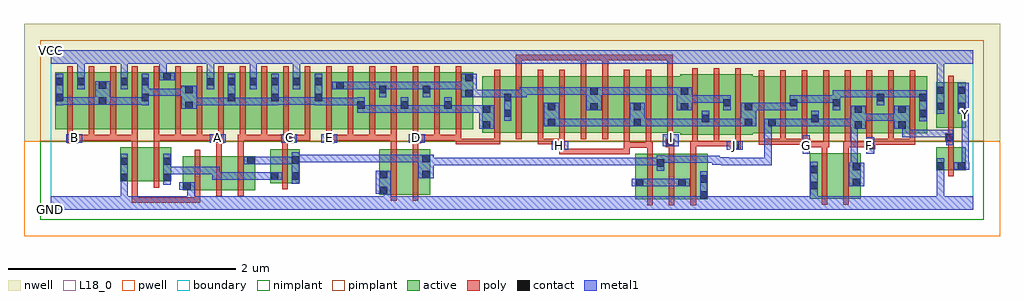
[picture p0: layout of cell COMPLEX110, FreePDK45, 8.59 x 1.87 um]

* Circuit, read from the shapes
.subckt COMPLEX110 A B C D E F G GND H I J VCC Y
M1 n1 B GND VSUBS nfet w=0.3u l=0.05u
M2 n2 A n1 VSUBS nfet w=0.3u l=0.05u
M3 n3 B GND VSUBS nfet w=0.3u l=0.05u
M4 n4 A n3 VSUBS nfet w=0.3u l=0.05u
M5 n5 C n4 VSUBS nfet w=0.3u l=0.05u
M6 n5 C n2 VSUBS nfet w=0.3u l=0.05u
M7 n6 E GND VSUBS nfet w=0.4u l=0.05u
M8 n5 D n6 VSUBS nfet w=0.4u l=0.05u
M9 n5 H n7 VSUBS nfet w=0.4u l=0.05u
M10 n7 I n5 VSUBS nfet w=0.4u l=0.05u
M11 GND J n7 VSUBS nfet w=0.4u l=0.05u
M12 n8 G GND VSUBS nfet w=0.4u l=0.05u
M13 n5 F n8 VSUBS nfet w=0.4u l=0.05u
M14 Y n5 GND VSUBS nfet w=0.2u l=0.05u
M15 VCC B n9 n10 pfet w=0.5u l=0.05u m=4
M16 VCC A n9 n10 pfet w=0.5u l=0.05u m=4
M17 VCC C n9 n10 pfet w=0.5u l=0.05u m=4
M18 n11 E n9 n10 pfet w=0.5u l=0.05u m=4
M19 n11 D n9 n10 pfet w=0.5u l=0.05u m=4
M20 n12 I n11 n10 pfet w=0.5u l=0.05u
M21 n13 H n12 n10 pfet w=0.5u l=0.05u
M22 n14 H n13 n10 pfet w=0.5u l=0.05u
M23 n11 I n14 n10 pfet w=0.5u l=0.05u
M24 n15 I n11 n10 pfet w=0.5u l=0.05u
M25 n13 H n15 n10 pfet w=0.5u l=0.05u
M26 n16 H n13 n10 pfet w=0.5u l=0.05u
M27 n11 I n16 n10 pfet w=0.5u l=0.05u
M28 n13 J n11 n10 pfet w=0.533u l=0.05u m=3
M29 n5 G n13 n10 pfet w=0.5u l=0.05u m=4
M30 n5 F n13 n10 pfet w=0.5u l=0.05u m=4
M31 Y n5 VCC n10 pfet w=0.4u l=0.05u
.ends

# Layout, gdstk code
import gdstk
lib = gdstk.Library(unit=1e-6, precision=1e-09)
def R(c, l, rs):  # rectangles x0, y0, x1, y1
    for r in rs: c.add(gdstk.rectangle(r[:2], r[2:], *l))
def A(c, l, x, y, w, h, nx, ny, dx, dy):  # array of equal rectangles
    R(c, l, [(x+i*dx, y+j*dy, x+i*dx+w, y+j*dy+h) for i in range(nx) for j in range(ny)])
active = (1, 0)
pwell = (2, 0)
nwell = (3, 0)
nimplant = (4, 0)
pimplant = (5, 0)
poly = (9, 0)
contact = (10, 0)
metal1 = (11, 0)
L18_0 = (18, 0)
boundary = (235, 0)

complex110 = lib.new_cell('COMPLEX110')
A(complex110, active, 6.5, 0.672, 0.265, 0.5, 3, 1, 0.19, 0)
A(complex110, active, 0.04, 0.707, 0.265, 0.5, 3, 1, 0.19, 0)
A(complex110, active, 1.555, 0.707, 0.265, 0.5, 3, 1, 0.19, 0)
R(complex110, active, [(5.145,0.092,5.405,0.492), (5.33,0.092,5.595,0.492), (5.52,0.092,5.785,0.492), (5.71,0.092,5.785,0.492), (6.68,0.097,6.905,0.497), (6.68,0.097,6.755,0.497), (6.905,0.097,7.13,0.497), (2.89,0.132,3.115,0.532), (2.89,0.132,2.965,0.532), (3.115,0.132,3.34,0.532), (3.265,0.147,3.34,0.532), (5.145,0.147,5.22,0.492), (5.33,0.147,5.405,0.492), (5.52,0.147,5.595,0.492), (7.055,0.147,7.13,0.497), (1.162,0.17,1.237,0.47), (1.162,0.17,1.387,0.47), (1.387,0.17,1.577,0.47), (1.577,0.17,1.802,0.47), (1.932,0.232,2.007,0.532), (1.932,0.232,2.192,0.532), (2.117,0.232,2.192,0.532), (0.61,0.247,0.685,0.547), (0.61,0.247,0.835,0.547), (0.835,0.247,1.06,0.547), (0.985,0.247,1.06,0.547), (1.727,0.247,1.802,0.47), (7.795,0.347,7.87,0.547), (7.795,0.347,8.055,0.547), (7.98,0.347,8.055,0.547), (5.54,0.657,5.8,1.19), (5.725,0.657,5.99,1.19), (5.725,0.657,5.8,1.07), (5.915,0.657,6.18,1.19), (5.915,0.657,5.99,1.19), (6.105,0.672,6.18,1.157), (6.105,0.672,6.387,1.172), (6.312,0.672,6.387,1.07), (6.312,0.672,6.575,1.172), (6.5,0.672,6.575,1.157), (6.69,0.672,6.765,1.07), (6.88,0.672,6.955,1.157), (7.07,0.672,7.145,1.07), (7.07,0.672,7.34,1.172), (7.265,0.672,7.34,1.157), (7.265,0.672,7.53,1.172), (7.455,0.672,7.715,1.172), (7.455,0.672,7.53,1.07), (7.64,0.672,7.715,1.157), (3.8,0.675,4.06,1.175), (3.8,0.675,3.875,1.07), (3.985,0.675,4.215,1.175), (3.985,0.675,4.06,1.157), (4.215,0.675,4.445,1.175), (4.37,0.675,4.445,1.07), (4.37,0.675,4.595,1.175), (4.595,0.675,4.82,1.175), (4.745,0.675,4.975,1.175), (4.975,0.675,5.2,1.175), (5.125,0.675,5.355,1.175), (5.125,0.675,5.2,1.07), (5.355,0.675,5.615,1.175), (0.04,0.707,0.115,1.2), (0.23,0.707,0.305,1.207), (0.42,0.707,0.495,1.157), (0.61,0.707,0.87,1.207), (0.61,0.707,0.685,1.165), (0.795,0.707,1.06,1.207), (0.985,0.707,1.255,1.207), (0.985,0.707,1.06,1.207), (1.18,0.707,1.445,1.207), (1.37,0.707,1.63,1.207), (1.37,0.707,1.445,1.167), (1.745,0.707,1.82,1.167), (1.935,0.707,2.01,1.165), (2.125,0.707,2.395,1.207), (2.32,0.707,2.585,1.207), (2.32,0.707,2.395,1.167), (2.51,0.707,2.77,1.207), (2.51,0.707,2.585,1.167), (2.695,0.707,2.96,1.207), (2.695,0.707,2.77,1.07), (2.885,0.707,3.15,1.207), (2.885,0.707,2.96,1.157), (3.075,0.707,3.345,1.207), (3.075,0.707,3.15,1.07), (3.27,0.707,3.535,1.207), (3.46,0.707,3.72,1.207), (3.645,0.707,3.72,1.2), (7.795,0.722,7.87,1.122), (7.795,0.722,8.055,1.122), (7.98,0.722,8.055,1.122), (4.745,0.762,4.82,1.157), (2.125,0.782,2.2,1.167), (3.27,0.802,3.345,1.2), (5.54,0.802,5.615,1.167), (0.795,0.807,0.87,1.2), (1.18,0.807,1.255,1.2), (1.555,0.807,1.63,1.167), (3.46,0.807,3.535,1.07)])
R(complex110, pwell, [(-0.235,-0.235,8.355,0.602)])
R(complex110, nwell, [(-0.235,0.602,8.355,1.635)])
R(complex110, nimplant, [(-0.09,-0.09,8.21,0.602)])
R(complex110, pimplant, [(-0.09,0.602,8.21,1.49)])
A(complex110, poly, 5.25, 0.037, 0.05, 0.51, 3, 1, 0.19, 0)
A(complex110, poly, 1.267, 0.115, 0.05, 0.41, 3, 1, 0.19, 0)
A(complex110, poly, 5.645, 0.557, 0.05, 0.095, 3, 1, 0.19, 0)
A(complex110, poly, 6.23, 0.572, 0.05, 0.095, 3, 1, 0.19, 0)
A(complex110, poly, 6.23, 0.572, 0.05, 0.05, 3, 1, 0.19, 0)
A(complex110, poly, 7.18, 0.572, 0.05, 0.095, 3, 1, 0.19, 0)
A(complex110, poly, 5.645, 0.602, 0.05, 0.643, 3, 1, 0.19, 0)
A(complex110, poly, 0.145, 0.607, 0.05, 0.095, 19, 1, 0.19, 0)
A(complex110, poly, 0.525, 0.607, 0.05, 0.05, 4, 1, 0.19, 0)
A(complex110, poly, 6.23, 0.617, 0.05, 0.61, 8, 1, 0.19, 0)
A(complex110, poly, 3.905, 0.62, 0.05, 0.61, 9, 1, 0.19, 0)
A(complex110, poly, 0.145, 0.652, 0.05, 0.61, 19, 1, 0.19, 0)
R(complex110, poly, [(6.785,0.042,6.835,0.552), (6.975,0.042,7.025,0.552), (0.715,0.06,0.765,0.11), (0.715,0.06,0.765,0.242), (0.715,0.06,1.012,0.11), (0.962,0.06,1.012,0.11), (0.962,0.06,1.012,0.11), (0.962,0.06,1.012,0.11), (0.962,0.06,1.16,0.11), (1.11,0.06,1.16,0.11), (1.11,0.06,1.16,0.11), (1.11,0.06,1.16,0.11), (1.11,0.06,1.317,0.11), (1.267,0.06,1.317,0.11), (1.267,0.06,1.317,0.11), (1.267,0.06,1.317,0.11), (1.267,0.06,1.317,0.165), (2.995,0.077,3.045,0.587), (3.185,0.077,3.235,0.587), (2.037,0.177,2.087,0.587), (0.715,0.192,0.765,0.602), (0.905,0.192,0.955,0.602), (7.9,0.292,7.95,0.602), (1.457,0.475,1.507,0.632), (1.647,0.475,1.697,0.657), (4.475,0.487,4.695,0.537), (4.475,0.487,4.525,0.58), (4.645,0.487,4.695,0.537), (4.645,0.487,4.695,0.537), (4.645,0.487,4.695,0.537), (4.645,0.487,4.847,0.537), (4.797,0.487,4.847,0.537), (4.797,0.487,4.847,0.537), (4.797,0.487,4.847,0.537), (4.797,0.487,5.095,0.537), (5.045,0.487,5.095,0.592), (5.25,0.497,5.3,0.592), (5.44,0.497,5.49,0.6), (5.63,0.497,5.68,0.607), (6.785,0.502,6.835,0.597), (6.975,0.502,7.025,0.597), (4.45,0.53,4.525,0.625), (4.475,0.53,4.525,0.58), (5.987,0.532,6.075,0.607), (7.18,0.532,7.255,0.622), (2.037,0.537,2.087,0.632), (2.995,0.537,3.045,0.657), (3.185,0.537,3.235,0.632), (5.045,0.542,5.095,0.592), (5.045,0.542,5.095,0.592), (5.045,0.542,5.285,0.592), (5.045,0.542,5.095,0.67), (5.235,0.542,5.3,0.592), (5.235,0.542,5.285,0.67), (6.61,0.547,6.687,0.622), (6.637,0.547,6.835,0.597), (6.785,0.547,6.835,0.597), (6.785,0.547,6.835,0.597), (6.785,0.547,6.85,0.597), (6.8,0.547,6.85,0.667), (6.975,0.547,7.04,0.597), (6.99,0.547,7.23,0.597), (6.99,0.547,7.04,0.667), (7.18,0.547,7.23,0.597), (7.18,0.547,7.23,0.597), (5.415,0.55,5.49,0.625), (0.715,0.552,0.765,0.657), (0.905,0.552,0.955,0.657), (7.9,0.552,7.95,0.647), (5.63,0.557,5.695,0.607), (5.645,0.557,5.695,0.607), (5.645,0.557,5.695,0.607), (5.645,0.557,5.885,0.607), (5.835,0.557,5.885,0.607), (5.835,0.557,6.037,0.607), (5.987,0.557,6.037,0.607), (5.987,0.557,6.037,0.607), (6.23,0.572,6.28,0.622), (6.23,0.572,6.28,0.622), (6.23,0.572,6.47,0.622), (6.42,0.572,6.66,0.622), (6.61,0.572,6.66,0.622), (7.205,0.572,7.42,0.622), (7.37,0.572,7.42,0.622), (7.37,0.572,7.42,0.622), (7.37,0.572,7.42,0.622), (7.37,0.572,7.61,0.622), (7.56,0.572,7.61,0.622), (7.56,0.572,7.61,0.622), (7.56,0.572,7.61,0.622), (3.565,0.575,3.615,0.625), (3.565,0.575,3.615,0.625), (3.565,0.575,3.955,0.625), (3.565,0.575,3.615,0.657), (3.905,0.575,3.955,0.67), (3.905,0.575,3.955,0.625), (3.905,0.575,3.955,0.625), (3.905,0.575,3.955,0.625), (4.285,0.575,4.335,0.67), (4.285,0.575,4.335,0.625), (4.285,0.575,4.335,0.625), (4.285,0.575,4.335,0.625), (4.285,0.575,4.5,0.625), (4.475,0.575,4.525,0.67), (5.425,0.575,5.475,0.67), (0.145,0.582,0.242,0.657), (1.435,0.582,1.525,0.657), (2.037,0.582,2.132,0.657), (2.417,0.582,2.492,0.657), (3.185,0.582,3.26,0.657), (7.875,0.597,7.95,0.672), (0.192,0.607,0.242,0.657), (0.192,0.607,0.242,0.657), (0.192,0.607,0.385,0.657), (0.335,0.607,0.385,0.657), (0.335,0.607,0.385,0.657), (0.335,0.607,0.385,0.657), (0.335,0.607,0.575,0.657), (0.525,0.607,0.575,0.657), (0.525,0.607,0.575,0.657), (0.525,0.607,0.765,0.657), (0.905,0.607,1.145,0.657), (1.095,0.607,1.145,0.657), (1.095,0.607,1.145,0.657), (1.095,0.607,1.335,0.657), (1.285,0.607,1.335,0.657), (1.285,0.607,1.335,0.657), (1.285,0.607,1.335,0.657), (1.285,0.607,1.485,0.657), (1.435,0.607,1.485,0.657), (1.435,0.607,1.485,0.657), (1.647,0.607,1.715,0.657), (1.665,0.607,1.905,0.657), (1.855,0.607,1.905,0.657), (1.855,0.607,1.905,0.657), (1.855,0.607,1.905,0.657), (1.855,0.607,2.087,0.657), (2.037,0.607,2.087,0.657), (2.037,0.607,2.087,0.657), (2.082,0.607,2.285,0.657), (2.235,0.607,2.285,0.657), (2.235,0.607,2.285,0.657), (2.235,0.607,2.285,0.657), (2.442,0.607,2.665,0.657), (2.615,0.607,2.665,0.657), (2.615,0.607,2.665,0.657), (2.615,0.607,2.665,0.657), (2.615,0.607,2.855,0.657), (2.805,0.607,2.855,0.657), (2.805,0.607,2.855,0.657), (2.805,0.607,2.855,0.657), (2.805,0.607,3.045,0.657), (2.995,0.607,3.045,0.657), (2.995,0.607,3.045,0.657), (2.995,0.607,3.045,0.657), (3.21,0.607,3.26,0.657), (3.21,0.607,3.26,0.657), (3.21,0.607,3.425,0.657), (3.375,0.607,3.425,0.657), (3.375,0.607,3.425,0.657), (3.375,0.607,3.425,0.657), (3.375,0.607,3.615,0.657), (7.9,0.622,7.95,0.717), (7.9,0.667,7.95,1.177), (4.095,1.18,4.145,1.362), (4.665,1.18,4.715,1.362), (4.855,1.18,4.905,1.362), (5.425,1.18,5.475,1.362), (4.095,1.312,4.145,1.362), (4.095,1.312,4.145,1.362), (4.095,1.312,4.145,1.362), (4.095,1.312,4.315,1.362), (4.265,1.312,4.315,1.362), (4.265,1.312,4.315,1.362), (4.265,1.312,4.315,1.362), (4.265,1.312,4.562,1.362), (4.512,1.312,4.562,1.362), (4.512,1.312,4.562,1.362), (4.512,1.312,4.562,1.362), (4.512,1.312,4.715,1.362), (4.665,1.312,4.715,1.362), (4.665,1.312,4.715,1.362), (4.665,1.312,4.715,1.362), (4.665,1.312,4.905,1.362), (4.855,1.312,4.905,1.362), (4.855,1.312,4.905,1.362), (4.855,1.312,4.905,1.362), (4.855,1.312,5.095,1.362), (5.045,1.312,5.095,1.362), (5.045,1.312,5.095,1.362), (5.045,1.312,5.095,1.362), (5.045,1.312,5.227,1.362), (5.177,1.312,5.227,1.362), (5.177,1.312,5.227,1.362), (5.177,1.312,5.227,1.362), (5.177,1.312,5.475,1.362), (5.425,1.312,5.475,1.362)])
A(complex110, contact, 1.56, 1.095, 0.065, 0.065, 4, 1, 0.19, 0)
R(complex110, contact, [(5.715,0.097,5.78,0.162), (2.895,0.137,2.96,0.202), (1.167,0.175,1.232,0.24), (6.685,0.18,6.75,0.245), (5.15,0.205,5.215,0.27), (5.525,0.205,5.59,0.27), (7.06,0.205,7.125,0.27), (5.715,0.237,5.78,0.302), (0.615,0.252,0.68,0.317), (0.99,0.252,1.055,0.317), (1.937,0.262,2.002,0.327), (2.122,0.262,2.187,0.327), (3.27,0.275,3.335,0.34), (2.895,0.277,2.96,0.342), (6.685,0.32,6.75,0.385), (7.06,0.345,7.125,0.41), (7.8,0.352,7.865,0.417), (7.985,0.352,8.05,0.417), (5.335,0.377,5.4,0.442), (0.615,0.392,0.68,0.457), (0.99,0.392,1.055,0.457), (1.732,0.4,1.797,0.465), (2.122,0.402,2.187,0.467), (3.27,0.415,3.335,0.48), (4.455,0.535,4.52,0.6), (5.992,0.537,6.057,0.602), (7.185,0.537,7.25,0.602), (6.617,0.552,6.682,0.617), (5.42,0.555,5.485,0.62), (0.172,0.587,0.237,0.652), (1.44,0.587,1.505,0.652), (2.062,0.587,2.127,0.652), (2.422,0.587,2.487,0.652), (3.19,0.587,3.255,0.652), (7.88,0.602,7.945,0.667), (7.075,0.71,7.14,0.775), (7.46,0.71,7.525,0.775), (3.805,0.712,3.87,0.777), (4.375,0.735,4.44,0.8), (5.13,0.735,5.195,0.8), (6.11,0.735,6.175,0.8), (6.317,0.735,6.382,0.8), (5.73,0.77,5.795,0.835), (6.695,0.77,6.76,0.835), (7.645,0.812,7.71,0.877), (3.99,0.815,4.055,0.88), (7.075,0.85,7.14,0.915), (7.46,0.85,7.525,0.915), (3.805,0.852,3.87,0.917), (4.75,0.872,4.815,0.937), (5.545,0.872,5.61,0.937), (4.375,0.875,4.44,0.94), (5.13,0.875,5.195,0.94), (6.11,0.875,6.175,0.94), (7.8,0.877,7.865,0.942), (7.985,0.877,8.05,0.942), (1.185,0.885,1.25,0.95), (2.7,0.887,2.765,0.952), (3.08,0.887,3.145,0.952), (3.465,0.887,3.53,0.952), (5.92,0.907,5.985,0.972), (6.505,0.907,6.57,0.972), (6.885,0.907,6.95,0.972), (0.425,0.922,0.49,0.987), (7.27,0.952,7.335,1.017), (7.645,0.952,7.71,1.017), (0.045,0.955,0.11,1.02), (0.8,0.955,0.865,1.02), (1.56,0.955,1.625,1.02), (1.94,0.955,2.005,1.02), (2.325,0.955,2.39,1.02), (3.99,0.955,4.055,1.02), (3.65,0.99,3.715,1.055), (4.75,1.012,4.815,1.077), (5.545,1.012,5.61,1.077), (7.8,1.017,7.865,1.082), (7.985,1.017,8.05,1.082), (1.185,1.025,1.25,1.09), (2.89,1.025,2.955,1.09), (3.275,1.025,3.34,1.09), (2.515,1.06,2.58,1.125), (0.425,1.062,0.49,1.127), (1.375,1.092,1.44,1.157), (0.045,1.095,0.11,1.16), (0.235,1.095,0.3,1.16), (0.615,1.095,0.68,1.16), (0.8,1.095,0.865,1.16), (2.325,1.095,2.39,1.16), (3.65,1.13,3.715,1.195), (0.99,1.137,1.055,1.202)])
R(complex110, metal1, [(0,0,8.12,0.115), (0.615,0.05,0.68,0.282), (1.202,0.05,1.267,0.155), (2.93,0.05,2.995,0.202), (5.715,0.05,5.78,0.127), (6.685,0.05,6.75,0.21), (7.8,0.05,7.865,0.382), (5.715,0.062,5.78,0.337), (1.202,0.09,1.267,0.155), (1.202,0.09,1.267,0.24), (2.86,0.137,2.995,0.342), (6.685,0.145,6.75,0.42), (1.132,0.175,1.267,0.24), (5.115,0.205,5.25,0.27), (5.185,0.205,5.312,0.27), (5.247,0.205,5.312,0.27), (5.247,0.205,5.387,0.27), (5.322,0.205,5.387,0.27), (5.322,0.205,5.555,0.27), (5.49,0.205,5.555,0.27), (5.49,0.205,5.555,0.27), (5.49,0.205,5.625,0.27), (7.025,0.205,7.16,0.41), (0.615,0.217,0.68,0.282), (0.615,0.217,0.68,0.282), (0.615,0.217,0.68,0.492), (0.99,0.217,1.055,0.492), (2.122,0.227,2.187,0.502), (1.422,0.262,1.625,0.327), (1.422,0.262,1.487,0.377), (1.56,0.262,1.625,0.327), (1.56,0.262,1.625,0.327), (1.56,0.262,1.625,0.327), (1.56,0.262,1.83,0.327), (1.765,0.262,1.83,0.327), (1.765,0.262,1.83,0.327), (1.765,0.262,1.83,0.327), (1.765,0.262,1.967,0.327), (1.902,0.262,2.037,0.327), (3.235,0.275,3.37,0.48), (0.99,0.312,1.055,0.377), (0.99,0.312,1.055,0.377), (0.99,0.312,1.192,0.377), (1.127,0.312,1.192,0.377), (1.127,0.312,1.192,0.377), (1.127,0.312,1.192,0.377), (1.127,0.312,1.487,0.377), (1.422,0.312,1.487,0.377), (1.422,0.312,1.487,0.377), (7.8,0.317,7.865,0.382), (7.8,0.317,7.865,0.382), (7.8,0.317,7.865,0.382), (7.8,0.317,7.865,0.382), (7.8,0.317,7.865,0.452), (5.335,0.342,5.4,0.477), (7.04,0.345,7.105,0.41), (7.04,0.345,7.105,0.41), (7.04,0.345,7.105,0.775), (7.95,0.352,8.085,0.417), (8.017,0.352,8.082,0.837), (3.305,0.39,3.37,0.455), (3.305,0.39,3.37,0.455), (3.305,0.39,3.507,0.455), (3.442,0.39,3.507,0.455), (3.442,0.39,3.507,0.455), (3.442,0.39,3.507,0.455), (3.442,0.39,3.917,0.455), (3.852,0.39,3.917,0.455), (3.852,0.39,3.917,0.455), (3.852,0.39,3.917,0.455), (3.852,0.39,4.055,0.455), (3.99,0.39,4.055,0.455), (3.99,0.39,4.055,0.455), (3.99,0.39,4.055,0.455), (3.99,0.39,4.192,0.455), (4.127,0.39,4.192,0.455), (4.127,0.39,4.192,0.455), (4.127,0.39,4.192,0.455), (4.127,0.39,4.33,0.455), (4.265,0.39,4.33,0.455), (4.265,0.39,4.33,0.455), (4.265,0.39,4.33,0.455), (4.265,0.39,4.612,0.455), (4.547,0.39,4.612,0.455), (4.547,0.39,4.612,0.455), (4.547,0.39,4.612,0.455), (4.547,0.39,4.75,0.455), (4.685,0.39,4.75,0.455), (4.685,0.39,4.75,0.455), (4.685,0.39,4.75,0.455), (4.685,0.39,5.022,0.455), (4.957,0.39,5.022,0.455), (4.957,0.39,5.022,0.455), (4.957,0.39,5.022,0.455), (4.957,0.39,5.175,0.455), (5.11,0.39,5.175,0.455), (5.11,0.39,5.175,0.455), (5.11,0.39,5.175,0.455), (5.11,0.39,5.312,0.455), (5.247,0.39,5.312,0.455), (5.247,0.39,5.4,0.455), (5.902,0.39,6.105,0.455), (5.902,0.39,5.967,0.46), (6.04,0.39,6.105,0.455), (6.04,0.39,6.105,0.455), (6.04,0.39,6.105,0.455), (6.04,0.39,6.28,0.455), (6.215,0.39,6.28,0.455), (6.215,0.39,6.347,0.455), (6.282,0.39,6.347,0.455), (6.282,0.39,6.347,0.8), (5.822,0.395,5.967,0.46), (5.822,0.395,5.887,0.475), (1.697,0.4,1.832,0.465), (1.767,0.4,1.832,0.465), (1.767,0.4,1.832,0.465), (1.767,0.4,1.97,0.465), (1.905,0.4,1.97,0.465), (1.905,0.4,2.172,0.465), (2.107,0.4,2.172,0.465), (2.107,0.4,2.187,0.465), (5.335,0.41,5.537,0.475), (5.472,0.41,5.537,0.475), (5.472,0.41,5.537,0.475), (5.472,0.41,5.537,0.475), (5.472,0.41,5.692,0.475), (5.627,0.41,5.692,0.475), (5.627,0.41,5.83,0.475), (5.765,0.41,5.83,0.475), (5.765,0.41,5.887,0.475), (2.122,0.415,2.31,0.48), (2.245,0.415,2.31,0.48), (2.245,0.415,2.407,0.48), (2.342,0.415,2.407,0.48), (2.342,0.415,2.447,0.48), (2.382,0.415,2.447,0.48), (2.382,0.415,2.587,0.48), (2.522,0.415,2.587,0.48), (2.522,0.415,2.587,0.48), (2.522,0.415,2.587,0.48), (2.522,0.415,2.752,0.48), (2.687,0.415,2.752,0.48), (2.687,0.415,2.752,0.48), (2.687,0.415,2.752,0.48), (2.687,0.415,2.902,0.48), (2.837,0.415,2.902,0.48), (2.837,0.415,2.902,0.48), (2.837,0.415,2.902,0.48), (2.837,0.415,3.132,0.48), (3.067,0.415,3.132,0.48), (3.067,0.415,3.132,0.48), (3.067,0.415,3.132,0.48), (3.067,0.415,3.3,0.48), (6.617,0.492,6.682,0.652), (7.177,0.492,7.25,0.637), (4.412,0.527,4.555,0.6), (5.952,0.527,6.092,0.602), (5.385,0.555,5.527,0.662), (7.88,0.567,7.945,0.702), (0.137,0.587,0.277,0.662), (1.4,0.587,1.54,0.662), (2.027,0.587,2.167,0.662), (2.382,0.587,2.522,0.662), (3.15,0.587,3.29,0.662), (7.495,0.637,7.56,0.702), (7.495,0.637,7.56,0.702), (7.495,0.637,7.56,0.702), (7.495,0.637,7.727,0.702), (7.495,0.637,7.56,0.775), (7.662,0.637,7.727,0.702), (7.662,0.637,7.727,0.702), (7.662,0.637,7.727,0.702), (7.662,0.637,7.945,0.702), (7.04,0.71,7.175,0.915), (7.425,0.71,7.56,0.915), (3.77,0.712,3.905,0.917), (4.34,0.735,4.475,0.94), (4.41,0.735,4.612,0.8), (4.547,0.735,4.612,0.8), (4.547,0.735,4.612,0.8), (4.547,0.735,4.612,0.8), (4.547,0.735,4.75,0.8), (4.685,0.735,4.75,0.8), (4.685,0.735,4.75,0.8), (4.685,0.735,4.75,0.8), (4.685,0.735,5.022,0.8), (4.957,0.735,5.022,0.8), (4.957,0.735,5.022,0.8), (4.957,0.735,5.022,0.8), (4.957,0.735,5.16,0.8), (5.095,0.735,5.16,0.8), (5.095,0.735,5.16,0.8), (5.095,0.735,5.23,0.94), (5.165,0.735,5.312,0.8), (5.247,0.735,5.312,0.8), (5.247,0.735,5.4,0.8), (5.335,0.735,5.4,0.8), (5.335,0.735,5.537,0.8), (5.472,0.735,5.537,0.8), (5.472,0.735,5.537,0.8), (5.472,0.735,5.537,0.8), (5.472,0.735,5.692,0.8), (5.627,0.735,5.692,0.8), (5.627,0.735,5.795,0.8), (5.73,0.735,5.795,0.87), (5.73,0.735,5.83,0.8), (5.765,0.735,5.83,0.8), (5.765,0.735,5.967,0.8), (5.902,0.735,5.967,0.8), (5.902,0.735,6.14,0.8), (6.075,0.735,6.14,0.8), (6.075,0.735,6.14,0.8), (6.075,0.735,6.21,0.94), (6.282,0.735,6.347,0.8), (6.282,0.735,6.347,0.8), (6.282,0.735,6.417,0.8), (6.352,0.735,6.417,0.8), (6.352,0.735,6.417,0.8), (6.352,0.735,6.555,0.8), (6.49,0.735,6.555,0.8), (6.49,0.735,6.555,0.8), (6.49,0.735,6.555,0.8), (6.49,0.735,6.76,0.8), (6.695,0.735,6.76,0.8), (6.695,0.735,6.76,0.8), (6.695,0.735,6.76,0.87), (6.695,0.735,6.95,0.8), (6.885,0.735,6.95,0.8), (6.885,0.735,6.95,0.8), (6.885,0.735,6.95,0.8), (6.885,0.735,7.105,0.8), (8.017,0.772,8.082,0.907), (7.645,0.777,7.71,1.052), (3.99,0.78,4.055,1.055), (7.11,0.78,7.175,0.845), (7.11,0.78,7.175,0.845), (7.11,0.78,7.352,0.845), (7.287,0.78,7.352,0.845), (7.287,0.78,7.352,0.845), (7.287,0.78,7.352,0.845), (7.287,0.78,7.49,0.845), (7.8,0.842,7.865,1.117), (7.985,0.842,8.082,1.117), (8.017,0.842,8.082,0.907), (2.7,0.852,2.765,0.917), (2.7,0.852,2.765,0.917), (2.7,0.852,2.765,0.987), (2.7,0.852,2.902,0.917), (2.837,0.852,2.902,0.917), (2.837,0.852,2.902,0.917), (2.837,0.852,2.902,0.917), (2.837,0.852,3.145,0.917), (3.08,0.852,3.145,0.917), (3.08,0.852,3.145,0.917), (3.08,0.852,3.145,0.987), (3.08,0.852,3.37,0.917), (3.305,0.852,3.37,0.917), (3.305,0.852,3.37,0.917), (3.305,0.852,3.37,0.917), (3.305,0.852,3.53,0.917), (3.465,0.852,3.53,0.917), (3.465,0.852,3.53,0.917), (3.465,0.852,3.53,0.987), (3.465,0.852,3.835,0.917), (3.77,0.852,3.835,0.917), (3.77,0.852,3.835,0.917), (4.715,0.872,4.85,1.077), (5.51,0.872,5.645,1.077), (5.92,0.872,5.985,1.007), (6.505,0.872,6.57,1.007), (6.885,0.872,6.95,1.007), (6.145,0.875,6.277,0.94), (6.212,0.875,6.277,0.94), (6.212,0.875,6.417,0.94), (6.352,0.875,6.417,0.94), (6.352,0.875,6.417,0.94), (6.352,0.875,6.417,0.94), (6.352,0.875,6.57,0.94), (1.15,0.885,1.285,1.09), (7.27,0.917,7.335,1.052), (0.045,0.92,0.11,1.195), (0.8,0.92,0.865,1.195), (1.22,0.92,1.285,0.985), (1.22,0.92,1.285,0.985), (1.22,0.92,1.487,0.985), (1.422,0.92,1.487,0.985), (1.422,0.92,1.487,0.985), (1.422,0.92,1.487,0.985), (1.422,0.92,1.625,0.985), (1.56,0.92,1.625,0.985), (1.56,0.92,1.625,0.985), (1.56,0.92,1.625,1.195), (1.56,0.92,1.83,0.985), (1.765,0.92,1.83,0.985), (1.765,0.92,1.83,0.985), (1.765,0.92,1.83,0.985), (1.765,0.92,2.005,0.985), (1.94,0.92,2.005,1.195), (2.325,0.92,2.39,1.195), (2.325,0.92,2.447,0.985), (2.382,0.92,2.447,0.985), (2.382,0.92,2.585,0.985), (2.52,0.92,2.585,0.985), (2.52,0.92,2.585,0.985), (2.52,0.92,2.585,0.985), (2.52,0.92,2.765,0.985), (0.045,0.922,0.11,0.987), (0.045,0.922,0.11,0.987), (0.045,0.922,0.317,0.987), (0.252,0.922,0.317,0.987), (0.252,0.922,0.317,0.987), (0.252,0.922,0.317,0.987), (0.252,0.922,0.455,0.987), (0.39,0.922,0.525,1.127), (0.46,0.922,0.525,0.987), (0.46,0.922,0.525,0.987), (0.46,0.922,0.727,0.987), (0.662,0.922,0.727,0.987), (0.662,0.922,0.727,0.987), (0.662,0.922,0.727,0.987), (0.662,0.922,0.865,0.987), (1.94,0.922,2.005,0.987), (1.94,0.922,2.005,0.987), (1.94,0.922,2.142,0.987), (2.077,0.922,2.142,0.987), (2.077,0.922,2.31,0.987), (2.245,0.922,2.31,0.987), (2.245,0.922,2.39,0.987), (5.58,0.942,5.692,1.007), (5.627,0.942,5.692,1.007), (5.627,0.942,5.83,1.007), (5.765,0.942,5.83,1.007), (5.765,0.942,5.83,1.007), (5.765,0.942,5.83,1.007), (5.765,0.942,5.985,1.007), (6.505,0.942,6.57,1.007), (6.505,0.942,6.57,1.007), (6.505,0.942,6.812,1.007), (6.747,0.942,6.812,1.007), (6.747,0.942,6.812,1.007), (6.747,0.942,6.812,1.007), (6.747,0.942,6.95,1.007), (6.885,0.942,6.95,1.007), (6.885,0.942,6.95,1.052), (6.885,0.987,7.087,1.052), (7.022,0.987,7.087,1.052), (7.022,0.987,7.087,1.052), (7.022,0.987,7.087,1.052), (7.022,0.987,7.335,1.052), (7.27,0.987,7.335,1.052), (7.27,0.987,7.335,1.052), (7.27,0.987,7.572,1.052), (7.507,0.987,7.572,1.052), (7.507,0.987,7.572,1.052), (7.507,0.987,7.572,1.052), (7.507,0.987,7.71,1.052), (2.89,0.99,2.955,1.125), (3.275,0.99,3.34,1.125), (3.615,0.99,3.75,1.195), (3.685,0.99,3.75,1.055), (3.685,0.99,3.75,1.055), (3.685,0.99,4.055,1.055), (3.99,0.99,4.055,1.055), (3.99,0.99,4.055,1.055), (3.99,0.99,4.192,1.055), (4.127,0.99,4.192,1.055), (4.127,0.99,4.192,1.055), (4.127,0.99,4.192,1.077), (0.8,1,0.865,1.065), (0.8,1,0.865,1.065), (0.8,1,1.002,1.065), (0.937,1,1.002,1.065), (0.937,1,1.002,1.065), (0.937,1,1.002,1.065), (0.937,1,1.215,1.065), (4.127,1.012,4.33,1.077), (4.265,1.012,4.33,1.077), (4.265,1.012,4.33,1.077), (4.265,1.012,4.33,1.077), (4.265,1.012,4.612,1.077), (4.547,1.012,4.612,1.077), (4.547,1.012,4.612,1.077), (4.547,1.012,4.612,1.077), (4.547,1.012,4.78,1.077), (4.715,1.012,4.78,1.077), (4.715,1.012,4.78,1.077), (4.785,1.012,5.022,1.077), (4.957,1.012,5.022,1.077), (4.957,1.012,5.022,1.077), (4.957,1.012,5.022,1.077), (4.957,1.012,5.16,1.077), (5.095,1.012,5.16,1.077), (5.095,1.012,5.16,1.077), (5.095,1.012,5.16,1.077), (5.095,1.012,5.312,1.077), (5.247,1.012,5.312,1.077), (5.247,1.012,5.387,1.077), (5.322,1.012,5.387,1.077), (5.322,1.012,5.555,1.077), (5.49,1.012,5.555,1.077), (5.49,1.012,5.575,1.077), (7.8,1.052,7.865,1.117), (7.8,1.052,7.865,1.117), (7.8,1.052,7.865,1.35), (1.375,1.057,1.44,1.192), (0.235,1.06,0.3,1.195), (0.615,1.06,0.68,1.195), (1.75,1.06,1.815,1.195), (2.13,1.06,2.195,1.195), (2.48,1.06,2.615,1.125), (2.55,1.06,2.615,1.125), (2.55,1.06,2.615,1.125), (2.55,1.06,2.765,1.125), (2.7,1.06,2.765,1.125), (2.7,1.06,2.765,1.125), (2.7,1.06,2.765,1.125), (2.7,1.06,2.955,1.125), (2.89,1.06,2.955,1.125), (2.89,1.06,2.955,1.125), (2.89,1.06,3.092,1.125), (3.027,1.06,3.092,1.125), (3.027,1.06,3.092,1.125), (3.027,1.06,3.092,1.125), (3.027,1.06,3.34,1.125), (3.275,1.06,3.34,1.125), (3.275,1.06,3.34,1.125), (3.275,1.06,3.542,1.125), (3.477,1.06,3.542,1.125), (3.477,1.06,3.542,1.125), (3.477,1.06,3.542,1.125), (3.477,1.06,3.68,1.125), (1.375,1.127,1.44,1.192), (1.375,1.127,1.44,1.192), (1.375,1.127,1.44,1.35), (0.235,1.13,0.3,1.195), (0.235,1.13,0.3,1.195), (0.235,1.13,0.3,1.35), (0.615,1.13,0.68,1.195), (0.615,1.13,0.68,1.195), (0.615,1.13,0.68,1.35), (1.75,1.13,1.815,1.195), (1.75,1.13,1.815,1.195), (1.75,1.13,1.815,1.35), (2.13,1.13,2.195,1.35), (0.955,1.137,1.09,1.202), (0.955,1.137,1.02,1.35), (0,1.285,8.12,1.4), (0.955,1.285,1.02,1.35), (0.955,1.285,1.02,1.35), (2.13,1.285,2.195,1.35), (2.13,1.285,2.195,1.35)])
R(complex110, L18_0, [(0,0,8.12,0.115), (0.615,0.05,0.68,0.282), (1.202,0.05,1.267,0.155), (2.93,0.05,2.995,0.202), (5.715,0.05,5.78,0.127), (6.685,0.05,6.75,0.21), (7.8,0.05,7.865,0.382), (5.715,0.062,5.78,0.337), (1.202,0.09,1.267,0.155), (1.202,0.09,1.267,0.24), (2.86,0.137,2.995,0.342), (6.685,0.145,6.75,0.42), (1.132,0.175,1.267,0.24), (0.615,0.217,0.68,0.282), (0.615,0.217,0.68,0.282), (0.615,0.217,0.68,0.492), (7.8,0.317,7.865,0.452), (7.8,0.317,7.865,0.382), (7.8,0.317,7.865,0.382), (7.8,0.317,7.865,0.382), (7.8,0.317,7.865,0.382), (7.95,0.352,8.085,0.417), (8.017,0.352,8.082,0.837), (6.617,0.492,6.682,0.652), (7.177,0.492,7.25,0.637), (4.412,0.527,4.555,0.6), (4.447,0.527,4.512,0.592), (5.952,0.527,6.092,0.602), (5.987,0.527,6.052,0.592), (6.617,0.527,6.682,0.592), (7.177,0.527,7.242,0.592), (5.385,0.555,5.527,0.662), (0.137,0.587,0.277,0.662), (1.4,0.587,1.54,0.662), (2.027,0.587,2.167,0.662), (2.382,0.587,2.522,0.662), (3.15,0.587,3.29,0.662), (0.177,0.597,0.242,0.662), (1.437,0.597,1.502,0.662), (2.067,0.597,2.132,0.662), (2.417,0.597,2.482,0.662), (3.187,0.597,3.252,0.662), (5.427,0.597,5.492,0.662), (8.017,0.772,8.082,0.907), (8.017,0.807,8.082,0.872), (7.8,0.842,7.865,1.117), (7.985,0.842,8.082,1.117), (8.017,0.842,8.082,0.907), (7.8,1.052,7.865,1.117), (7.8,1.052,7.865,1.117), (7.8,1.052,7.865,1.35), (1.375,1.057,1.44,1.192), (0.235,1.06,0.3,1.195), (0.615,1.06,0.68,1.195), (1.75,1.06,1.815,1.195), (2.13,1.06,2.195,1.195), (1.375,1.127,1.44,1.192), (1.375,1.127,1.44,1.192), (1.375,1.127,1.44,1.35), (0.235,1.13,0.3,1.195), (0.235,1.13,0.3,1.195), (0.235,1.13,0.3,1.35), (0.615,1.13,0.68,1.195), (0.615,1.13,0.68,1.195), (0.615,1.13,0.68,1.35), (1.75,1.13,1.815,1.195), (1.75,1.13,1.815,1.195), (1.75,1.13,1.815,1.35), (2.13,1.13,2.195,1.35), (0.955,1.137,1.09,1.202), (0.955,1.137,1.02,1.35), (0,1.285,8.12,1.4), (0.955,1.285,1.02,1.35), (0.955,1.285,1.02,1.35), (2.13,1.285,2.195,1.35), (2.13,1.285,2.195,1.35)])
R(complex110, boundary, [(0,0,8.12,1.4)])
complex110.add(gdstk.Label('A', (1.47,0.63), layer=11, texttype=0))
complex110.add(gdstk.Label('B', (0.21,0.63), layer=11, texttype=0))
complex110.add(gdstk.Label('C', (2.1,0.63), layer=11, texttype=0))
complex110.add(gdstk.Label('D', (3.22,0.63), layer=11, texttype=0))
complex110.add(gdstk.Label('E', (2.45,0.63), layer=11, texttype=0))
complex110.add(gdstk.Label('F', (7.21,0.56), layer=11, texttype=0))
complex110.add(gdstk.Label('G', (6.65,0.56), layer=11, texttype=0))
complex110.add(gdstk.Label('H', (4.48,0.56), layer=11, texttype=0))
complex110.add(gdstk.Label('I', (5.46,0.63), layer=11, texttype=0))
complex110.add(gdstk.Label('J', (6.02,0.56), layer=11, texttype=0))
complex110.add(gdstk.Label('Y', (8.05,0.84), layer=11, texttype=0))
complex110.add(gdstk.Label('VCC', (0,1.4), layer=11, texttype=0))
complex110.add(gdstk.Label('GND', (0,0), layer=11, texttype=0))

lib.write_gds('COMPLEX110.gds')
